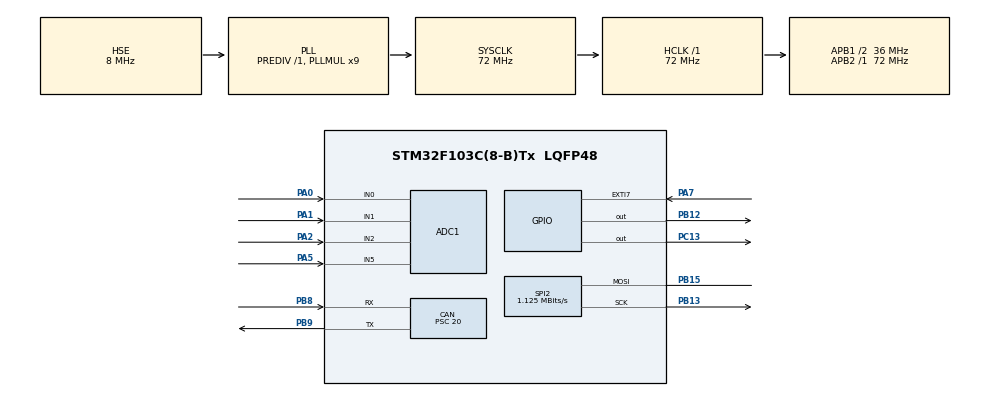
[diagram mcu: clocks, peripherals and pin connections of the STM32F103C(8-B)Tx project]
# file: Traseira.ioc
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ADC1.Channel-0\#ChannelRegularConversion=ADC_CHANNEL_0
ADC1.Channel-1\#ChannelRegularConversion=ADC_CHANNEL_1
ADC1.Channel-8\#ChannelRegularConversion=ADC_CHANNEL_2
ADC1.Channel-9\#ChannelRegularConversion=ADC_CHANNEL_5
ADC1.ContinuousConvMode=DISABLE
ADC1.DiscontinuousConvMode=ENABLE
ADC1.EnableAnalogWatchDog=false
ADC1.EnableInjectedConversion=DISABLE
ADC1.InjNumberOfConversion=4
ADC1.NbrOfConversion=4
ADC1.NbrOfConversionFlag=1
ADC1.Rank-0\#ChannelRegularConversion=1
ADC1.Rank-1\#ChannelRegularConversion=2
ADC1.Rank-8\#ChannelRegularConversion=3
ADC1.Rank-9\#ChannelRegularConversion=4
ADC1.SamplingTime-0\#ChannelRegularConversion=ADC_SAMPLETIME_1CYCLE_5
ADC1.SamplingTime-1\#ChannelRegularConversion=ADC_SAMPLETIME_1CYCLE_5
ADC1.SamplingTime-8\#ChannelRegularConversion=ADC_SAMPLETIME_1CYCLE_5
ADC1.SamplingTime-9\#ChannelRegularConversion=ADC_SAMPLETIME_1CYCLE_5
ADC1.master=1
CAN.BS1=CAN_BS1_15TQ
CAN.BS2=CAN_BS2_2TQ
CAN.CalculateBaudRate=100000
CAN.CalculateTimeBit=10000
CAN.CalculateTimeQuantum=555.5555555555555
CAN.Prescaler=20
FREERTOS.Events01=itr_events,Dynamic,NULL
FREERTOS.Queues01=CAN_Q,8,can_msg,0,Dynamic,NULL,NULL
FREERTOS.Tasks01=defaultTask,24,128,StartDefaultTask,Default,NULL,Dynamic,NULL,NULL;CAN_handler,24,128,Start_CAN_handler,Default,NULL,Dynamic,NULL,NULL;Itr_handler,49,128,Start_Itr_handler,Default,NULL,Dynamic,NULL,NULL;Polling_handler,48,128,Start_Polling_handler,Default,NULL,Dynamic,NULL,NULL
FREERTOS.configUSE_NEWLIB_REENTRANT=1
Mcu.Family=STM32F1
Mcu.Name=STM32F103C(8-B)Tx
Mcu.Package=LQFP48
NVIC.EXTI9_5_IRQn=true\:5\:0\:false\:false\:true\:true\:true\:true\:true
NVIC.PriorityGroup=NVIC_PRIORITYGROUP_4
NVIC.TIM1_UP_IRQn=true\:15\:0\:false\:false\:true\:false\:false\:true\:true
NVIC.TimeBase=TIM1_UP_IRQn
NVIC.TimeBaseIP=TIM1
NVIC.USB_LP_CAN1_RX0_IRQn=true\:5\:0\:false\:false\:true\:true\:true\:true\:true
PA0-WKUP.Signal=ADCx_IN0
PA1.Signal=ADCx_IN1
PA13.Mode=Serial_Wire
PA13.Signal=SYS_JTMS-SWDIO
PA14.Mode=Serial_Wire
PA14.Signal=SYS_JTCK-SWCLK
PA2.Signal=ADCx_IN2
PA5.Signal=ADCx_IN5
PA7.GPIO_PuPd=GPIO_PULLDOWN
PA7.Signal=GPXTI7
PB12.Signal=GPIO_Output
PB13.Mode=Simplex_Bidirectional_Master
PB13.Signal=SPI2_SCK
PB15.Mode=Simplex_Bidirectional_Master
PB15.Signal=SPI2_MOSI
PB8.Mode=CAN_Activate
PB8.Signal=CAN_RX
PB9.Mode=CAN_Activate
PB9.Signal=CAN_TX
PC13-TAMPER-RTC.Signal=GPIO_Output
PD0-OSC_IN.Mode=HSE-External-Oscillator
PD0-OSC_IN.Signal=RCC_OSC_IN
PD1-OSC_OUT.Mode=HSE-External-Oscillator
PD1-OSC_OUT.Signal=RCC_OSC_OUT
ProjectManager.HeapSize=0x200
ProjectManager.StackSize=0x400
ProjectManager.TargetToolchain=Makefile
RCC.ADCPresc=RCC_ADCPCLK2_DIV8
RCC.AHBFreq_Value=72000000
RCC.APB1CLKDivider=RCC_HCLK_DIV2
RCC.APB1Freq_Value=36000000
RCC.APB1TimFreq_Value=72000000
RCC.APB2Freq_Value=72000000
RCC.APB2TimFreq_Value=72000000
RCC.HCLKFreq_Value=72000000
RCC.PLLMUL=RCC_PLL_MUL9
RCC.PLLSourceVirtual=RCC_PLLSOURCE_HSE
RCC.SYSCLKFreq_VALUE=72000000
RCC.SYSCLKSource=RCC_SYSCLKSOURCE_PLLCLK
RCC.USBFreq_Value=72000000
SH.ADCx_IN0.0=ADC1_IN0,IN0
SH.ADCx_IN1.0=ADC1_IN1,IN1
SH.ADCx_IN2.0=ADC1_IN2,IN2
SH.ADCx_IN5.0=ADC1_IN5,IN5
SPI2.BaudRatePrescaler=SPI_BAUDRATEPRESCALER_32
SPI2.CalculateBaudRate=1.125 MBits/s
SPI2.Direction=SPI_DIRECTION_1LINE
SPI2.Mode=SPI_MODE_MASTER
SPI2.VirtualType=VM_MASTER
VP_FREERTOS_VS_CMSIS_V2.Mode=CMSIS_V2
VP_SYS_VS_tim1.Mode=TIM1
board=custom

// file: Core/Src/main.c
/* USER CODE BEGIN Header */
/**
  ******************************************************************************
  * @file           : main.c
  * @brief          : Main program body
  ******************************************************************************
  * @attention
  *
  * Copyright (c) 2024 STMicroelectronics.
  * All rights reserved.
  *
  * This software is licensed under terms that can be found in the LICENSE file
  * in the root directory of this software component.
  * If no LICENSE file comes with this software, it is provided AS-IS.
  *
  ******************************************************************************
  */
/* USER CODE END Header */

#include "main.h"
#include "cmsis_os.h"
#include "adc.h"
#include "can.h"
#include "spi.h"
#include "gpio.h"

/* USER CODE BEGIN Includes */
#include "rpm.h"
#include "signals.h"
/* USER CODE END Includes */

/* USER CODE BEGIN PV */
uint16_t frequency[5];
uint8_t unit_state[5];

uint32_t rpm_itr[RPM_SAMPLES];
uint8_t rpm_counter;
uint32_t rpm_last_itr;
uint32_t rpm_curr_itr;

extern CAN_RxHeaderTypeDef rxheader;
extern uint8_t* rxdata;

extern osThreadId_t defaultTaskHandle;
extern osThreadId_t CAN_handlerHandle;
extern osEventFlagsId_t itr_eventsHandle;
/* USER CODE END PV */

void SystemClock_Config(void);
void MX_FREERTOS_Init(void);

void control_change_freq(CONTROL_UNIT unit, uint16_t freq);

void control_change_state(CONTROL_UNIT unit, uint8_t bool);

/* USER CODE BEGIN PFP */

void HAL_GPIO_EXTI_Callback(uint16_t GPIO_Pin) {
  switch (GPIO_Pin) {
    case GPIO_PIN_7:
      rpm_curr_itr = osKernelGetTickCount();
      rpm_itr[rpm_counter % RPM_SAMPLES] = rpm_curr_itr - rpm_last_itr;
      rpm_last_itr = rpm_curr_itr;

      HAL_GPIO_TogglePin(GPIOC, GPIO_PIN_13);
      //make it so this doesn't clog the can queue;
      if ((rpm_counter % RPM_SAMPLES) == 0) osEventFlagsSet(itr_eventsHandle, ITR_RPM_FLAG);
      rpm_counter++;
      break;
  }
}

void HAL_CAN_RxFifo0MsgPendingCallback(CAN_HandleTypeDef* hcan) {
  HAL_CAN_GetRxMessage(hcan, CAN_RX_FIFO0, &rxheader, rxdata);
  osThreadFlagsSet(CAN_handlerHandle, SIGNAL_CAN_RX);
}
/* USER CODE END PFP */

int main(void)
{

  /* USER CODE BEGIN 1 */
  frequency[CONTROL_CAN] = FREQ_REALTIME;
  frequency[CONTROL_RPM] = FREQ_100_HZ;
  frequency[CONTROL_VELOCITY] = FREQ_100_HZ;
  frequency[CONTROL_TEMPERATURE] = FREQ_4_HZ;
  frequency[CONTROL_FUEL] = FREQ_4_HZ;
  /* USER CODE END 1 */

  /* MCU Configuration--------------------------------------------------------*/

  /* Reset of all peripherals, Initializes the Flash interface and the Systick. */
  HAL_Init();

  /* Configure the system clock */
  SystemClock_Config();

  /* Initialize all configured peripherals */
  MX_GPIO_Init();
  MX_CAN_Init();
  MX_ADC1_Init();
  MX_SPI2_Init();
  /* USER CODE BEGIN 2 */
  HAL_ADCEx_Calibration_Start(&hadc1);
  /* USER CODE END 2 */

  /* Init scheduler */
  osKernelInitialize();

  /* Call init function for freertos objects (in cmsis_os2.c) */
  MX_FREERTOS_Init();

  /* Start scheduler */
  osKernelStart();

  /* We should never get here as control is now taken by the scheduler */

  /* Infinite loop */
  while (1)
  {

  }
}

void SystemClock_Config(void)
{
  RCC_OscInitTypeDef RCC_OscInitStruct = {0};
  RCC_ClkInitTypeDef RCC_ClkInitStruct = {0};
  RCC_PeriphCLKInitTypeDef PeriphClkInit = {0};

  /** Initializes the RCC Oscillators according to the specified parameters
  * in the RCC_OscInitTypeDef structure.
  */
  RCC_OscInitStruct.OscillatorType = RCC_OSCILLATORTYPE_HSE;
  RCC_OscInitStruct.HSEState = RCC_HSE_ON;
  RCC_OscInitStruct.HSEPredivValue = RCC_HSE_PREDIV_DIV1;
  RCC_OscInitStruct.HSIState = RCC_HSI_ON;
  RCC_OscInitStruct.PLL.PLLState = RCC_PLL_ON;
  RCC_OscInitStruct.PLL.PLLSource = RCC_PLLSOURCE_HSE;
  RCC_OscInitStruct.PLL.PLLMUL = RCC_PLL_MUL9;
  if (HAL_RCC_OscConfig(&RCC_OscInitStruct) != HAL_OK)
  {
    Error_Handler();
  }

  /** Initializes the CPU, AHB and APB buses clocks
  */
  RCC_ClkInitStruct.ClockType = RCC_CLOCKTYPE_HCLK|RCC_CLOCKTYPE_SYSCLK
                              |RCC_CLOCKTYPE_PCLK1|RCC_CLOCKTYPE_PCLK2;
  RCC_ClkInitStruct.SYSCLKSource = RCC_SYSCLKSOURCE_PLLCLK;
  RCC_ClkInitStruct.AHBCLKDivider = RCC_SYSCLK_DIV1;
  RCC_ClkInitStruct.APB1CLKDivider = RCC_HCLK_DIV2;
  RCC_ClkInitStruct.APB2CLKDivider = RCC_HCLK_DIV1;

  if (HAL_RCC_ClockConfig(&RCC_ClkInitStruct, FLASH_LATENCY_2) != HAL_OK)
  {
    Error_Handler();
  }
  PeriphClkInit.PeriphClockSelection = RCC_PERIPHCLK_ADC;
  PeriphClkInit.AdcClockSelection = RCC_ADCPCLK2_DIV8;
  if (HAL_RCCEx_PeriphCLKConfig(&PeriphClkInit) != HAL_OK)
  {
    Error_Handler();
  }
}

/* USER CODE BEGIN 4 */
void control_change_freq(CONTROL_UNIT unit, uint16_t freq) {
  if (freq < 2000) {        //hardcap at 2 seconds to prevent fuck ups
    frequency[unit] = freq;
  }
}

void control_change_state(CONTROL_UNIT unit, uint8_t bool) {
  uint8_t state;
  if (bool > 1) state = 1;
  else state = 0;
  unit_state[unit] = state;

  osThreadFlagsSet(defaultTaskHandle, CONTROL_FLAG);
}
/* USER CODE END 4 */

void HAL_TIM_PeriodElapsedCallback(TIM_HandleTypeDef *htim)
{
  if (htim->Instance == TIM1) {
    HAL_IncTick();
  }
}

void Error_Handler(void)
{
  __disable_irq();
  while (1)
  {
  }
}

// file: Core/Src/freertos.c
/* USER CODE BEGIN Header */
/**
  ******************************************************************************
  * File Name          : freertos.c
  * Description        : Code for freertos applications
  ******************************************************************************
  * @attention
  *
  * Copyright (c) 2024 STMicroelectronics.
  * All rights reserved.
  *
  * This software is licensed under terms that can be found in the LICENSE file
  * in the root directory of this software component.
  * If no LICENSE file comes with this software, it is provided AS-IS.
  *
  ******************************************************************************
  */
/* USER CODE END Header */

#include "FreeRTOS.h"
#include "task.h"
#include "main.h"
#include "cmsis_os.h"

/* USER CODE BEGIN Includes */
#include "rpm.h"
#include "can.h"
#include "tempcvt.h"
#include "adc.h"
/* USER CODE END Includes */

/* USER CODE BEGIN Variables */
extern uint16_t frequency[5];
extern uint8_t unit_state[5];

extern uint32_t rpm_itr[RPM_SAMPLES];

extern CAN_HandleTypeDef hcan;
extern CAN_TxHeaderTypeDef txheader;
extern uint32_t txmailbox;

extern CAN_RxHeaderTypeDef rxheader;
extern uint8_t* rxdata;

/* USER CODE END Variables */
/* Definitions for defaultTask */
osThreadId_t defaultTaskHandle;
const osThreadAttr_t defaultTask_attributes = {
  .name = "defaultTask",
  .stack_size = 128 * 4,
  .priority = (osPriority_t) osPriorityNormal,
};
/* Definitions for CAN_handler */
osThreadId_t CAN_handlerHandle;
const osThreadAttr_t CAN_handler_attributes = {
  .name = "CAN_handler",
  .stack_size = 128 * 4,
  .priority = (osPriority_t) osPriorityRealtime,
};
/* Definitions for Itr_handler */
osThreadId_t Itr_handlerHandle;
const osThreadAttr_t Itr_handler_attributes = {
  .name = "Itr_handler",
  .stack_size = 128 * 4,
  .priority = (osPriority_t) osPriorityRealtime1,
};
/* Definitions for Polling_handler */
osThreadId_t Polling_handlerHandle;
const osThreadAttr_t Polling_handler_attributes = {
  .name = "Polling_handler",
  .stack_size = 128 * 4,
  .priority = (osPriority_t) osPriorityNormal,
};
/* Definitions for CAN_Q */
osMessageQueueId_t CAN_QHandle;
const osMessageQueueAttr_t CAN_Q_attributes = {
  .name = "CAN_Q"
};
/* Definitions for itr_events */
osEventFlagsId_t itr_eventsHandle;
const osEventFlagsAttr_t itr_events_attributes = {
  .name = "itr_events"
};

void StartDefaultTask(void *argument);
void Start_CAN_handler(void *argument);
void Start_Itr_handler(void *argument);
void Start_Polling_handler(void *argument);

void MX_FREERTOS_Init(void); /* (MISRA C 2004 rule 8.1) */

void MX_FREERTOS_Init(void) {

  /* Create the queue(s) */
  /* creation of CAN_Q */
  CAN_QHandle = osMessageQueueNew (8, sizeof(msg_all), &CAN_Q_attributes);

  /* Create the thread(s) */

  Polling_handlerHandle = osThreadNew(Start_Polling_handler, NULL, &Polling_handler_attributes);
  /* creation of defaultTask */

  /* creation of CAN_handler */
  CAN_handlerHandle = osThreadNew(Start_CAN_handler, NULL, &CAN_handler_attributes);

  /* creation of Itr_handler */
  Itr_handlerHandle = osThreadNew(Start_Itr_handler, NULL, &Itr_handler_attributes);

  /* creation of Polling_handler */
  defaultTaskHandle = osThreadNew(StartDefaultTask, NULL, &defaultTask_attributes);

  /* Create the event(s) */
  /* creation of itr_events */
  itr_eventsHandle = osEventFlagsNew(&itr_events_attributes);

}

void StartDefaultTask(void *argument)
{
  /* USER CODE BEGIN StartDefaultTask */
  /* Infinite loop */
  for(;;)
  {
    osThreadFlagsWait(0XFFFF, osFlagsWaitAny, osWaitForever);

    //kill threads where all units are stopped, create threads where a unit has been restarted
    osThreadState_t tstate = osThreadGetState(Itr_handlerHandle);
    if (osThreadFlagsGet() == CONTROL_FLAG) {
      if ((unit_state[CONTROL_RPM] | unit_state[CONTROL_VELOCITY]) == 0) {
        if (tstate == 4)break;
        else osThreadTerminate(Itr_handlerHandle);
      }

      else if (tstate == 4) {
        osThreadNew(Start_Itr_handler, NULL, &Itr_handler_attributes);
      }

      tstate = osThreadGetState(Polling_handlerHandle);
      if ((unit_state[CONTROL_FUEL] | unit_state[CONTROL_TEMPERATURE]) == 0) {
        if (tstate == 4) break;
        else osThreadTerminate(Polling_handlerHandle);
      }

      else if (tstate == 4) {
        osThreadNew(Start_Polling_handler, NULL, &Polling_handler_attributes);
      }
    }
    osDelay(10);
  }
  /* USER CODE END StartDefaultTask */
}

void Start_CAN_handler(void *argument)
{
  /* USER CODE BEGIN Start_CAN_handler */
  msg_all msg;

  /* Infinite loop */
  for(;;)
  {
    HAL_GPIO_WritePin(GPIOC, GPIO_PIN_13, RESET);
    if (osMessageQueueGetCount(CAN_QHandle) >= osMessageQueueGetCapacity(CAN_QHandle)) {
      HAL_GPIO_WritePin(GPIOC, GPIO_PIN_13, SET);

      osMessageQueueReset(CAN_QHandle);
      msg_error err;
      err.code = ERROR_CAN_QUEUE_FULL;
      err.timestamp = osKernelGetTickCount();
      msg_create_generic(&msg, MSG_ERROR, sizeof(msg_error), &err);
      can_send_message(&msg);
    }

    if (osMessageQueueGet(CAN_QHandle, &msg, NULL, osWaitForever) == osOK) {
      HAL_GPIO_WritePin(GPIOC, GPIO_PIN_13, SET);
      can_send_message(&msg);
      free(msg.pdata);
      osDelay(1);
    }

    /*
    todo: find a way of not using global variables for this (maybe have 2 different mutexes or whatever)
    probably best to just use global variables and fuck it
    */

    if (osThreadFlagsGet() == SIGNAL_CAN_RX) {
      //Handle the message
      can_handle_rx_msg();
    }
    osDelay(frequency[CONTROL_CAN]);
  }
  /* USER CODE END Start_CAN_handler */
}

void Start_Itr_handler(void *argument)
{
  /* USER CODE BEGIN Start_Itr_handler */
  msg_all msg;
  msg_rpm data;
  msg_warning warn;
  msg_error err;

  uint32_t last_rpm = 0;
  uint32_t last_vel = 0;

  uint8_t strikes_rpm = 0;
  uint8_t strikes_vel = 0;

  /* Infinite loop */
  for(;;)
  {
    osEventFlagsWait(itr_eventsHandle, 0xFFFF, osFlagsWaitAny, osWaitForever);

    if (((osEventFlagsGet(itr_eventsHandle) & ITR_RPM_FLAG) == ITR_RPM_FLAG) && unit_state[CONTROL_RPM] == 1) {
      if (last_rpm + frequency[CONTROL_RPM] < osKernelGetTickCount()) {
        uint32_t ts = osKernelGetTickCount();
        data.rpm = rpm_calculate(rpm_itr);
        if (data.rpm == -1) {
          strikes_rpm++;

          warn.code = WARNING_RPM_DEBOUNCE;
          warn.timestamp = ts;

          msg_create_generic(&msg, sizeof(msg_warning), MSG_WARNING, &warn);
          osMessageQueuePut(CAN_QHandle, &msg, NULL, 0);

          free(msg.pdata);
          if (strikes_rpm >= 3) {
            strikes_rpm = 0;

            err.code = ERROR_FAULTY_RPM;
            err.timestamp = osKernelGetTickCount();

            msg_create_generic(&msg, sizeof(msg_error), MSG_ERROR, &err);
            osMessageQueuePut(CAN_QHandle, &msg, NULL, 0);

            free(msg.pdata);
          }
          break;
        }
        data.timestamp = ts;

        msg_create_generic(&msg, MSG_RPM, sizeof(float), &data);
        osMessageQueuePut(CAN_QHandle, &msg, NULL, 0);

        osEventFlagsClear(itr_eventsHandle, ITR_RPM_FLAG);
        last_rpm = osKernelGetTickCount();
      }
    }

    if (((osEventFlagsGet(itr_eventsHandle) & ITR_VEL_FLAG) == ITR_VEL_FLAG)
          && unit_state[CONTROL_VELOCITY]) {
      if (last_vel + frequency[CONTROL_VELOCITY] < osKernelGetTickCount()) {
      //TODO: speed calculations
      //there probably isn't going to be any speed data on the car, but it shouldn't be hard to do
      //if we manage to get it working
      //plus do all the error handling, same as rpm
      osEventFlagsClear(itr_eventsHandle, ITR_VEL_FLAG);
      last_vel = osKernelGetTickCount();
      }
    }
  }
  /* USER CODE END Start_Itr_handler */
}

void Start_Polling_handler(void *argument)
{
  /* USER CODE BEGIN Start_Polling_handler */

  msg_all msg;
  msg_tempcvt cvt;
  msg_fuel fuel;

  msg_error err;
  msg_warning warn;

  uint8_t strike_fuel;
  uint8_t strike_temp;

  uint16_t raw_temp_cvt;

  uint32_t last_temp = 0;
  uint32_t last_fuel = 0;
  /* Infinite loop */
  for(;;)
  {
    if ((last_temp + frequency[CONTROL_TEMPERATURE] < osKernelGetTickCount())
        && unit_state[CONTROL_TEMPERATURE] == 1) {
      uint8_t is_warn = 0;
      uint8_t is_err = 0;
      uint32_t ts = osKernelGetTickCount();
      if (strike_fuel >= 3) {
        is_err = 1;
        err.code = ERROR_FAULTY_TEMP;
        err.timestamp = ts;
      }

      raw_temp_cvt = temp_read();

      if (raw_temp_cvt == -1) {
        strike_temp++;
        is_warn = 1;

        warn.code = WARNING_TEMP_SPI;
        warn.timestamp = ts;
      } else {
        cvt.temp = temp_convert(raw_temp_cvt);

        if (cvt.temp < 10000) {
          strike_temp++;
          is_warn = 1;

          warn.code = WARNING_TEMP_FAULTY;
          warn.timestamp = ts;
        } else
        if (cvt.temp > 100000) {
          is_warn = 1;
          warn.timestamp = ts;
          if (cvt.temp > 150000) {
            strike_temp++;

            warn.code = WARNING_TEMP_FAULTY;
          } else {
            warn.code = WARNING_TEMP_HIGH;
          }
        }
      }
      if (is_err) {
        msg_create_generic(&msg, sizeof(msg_error), MSG_ERROR, &err);
        osMessageQueuePut(CAN_QHandle, &msg, NULL, 0);
      } else
      if (is_warn) {
        msg_create_generic(&msg, sizeof(msg_warning), MSG_WARNING, &warn);
        osMessageQueuePut(CAN_QHandle, &msg, NULL, 0);
      }

    }

    if (last_fuel + frequency[CONTROL_FUEL] < osKernelGetTickCount()) {
      //do the fuel polling, really easy, but also don't know if this will work at the end of the day
    }

    //have to do the same thing here as i have to do in the other task

  }
  /* USER CODE END Start_Polling_handler */
}
